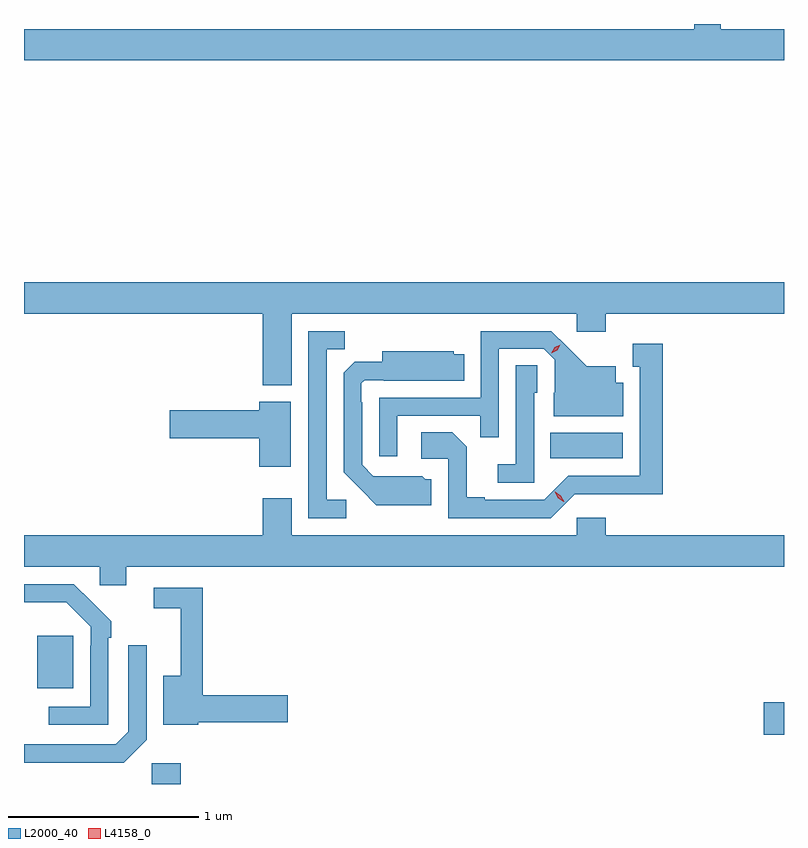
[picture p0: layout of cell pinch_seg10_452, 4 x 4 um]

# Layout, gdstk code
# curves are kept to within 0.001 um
import gdstk
lib = gdstk.Library(unit=1e-6, precision=1e-09)
def R(c, l, rs):  # rectangles x0, y0, x1, y1
    for r in rs: c.add(gdstk.rectangle(r[:2], r[2:], *l))
def P(c, l, *ps):  # polygons
    for p in ps: c.add(gdstk.Polygon(p, *l))
L2000_40 = (2000, 40)
L4158_0 = (4158, 0)

pinch_seg10_452 = lib.new_cell('pinch_seg10_452')
R(pinch_seg10_452, L2000_40, [(312.426,1305.832,312.578,1305.94), (315.648,1306.091,315.754,1306.262), (311.825,1306.337,312.013,1306.612), (314.524,1307.546,314.905,1307.68)])
P(pinch_seg10_452, L2000_40, [(315.754,1309.804),(315.421,1309.804),(315.421,1309.832),(315.281,1309.832),(315.281,1309.804),(311.754,1309.804),(311.754,1309.64),(315.754,1309.64)],
  [(313.162,1308.308),(314.664,1308.308),(314.664,1308.213),(314.816,1308.213),(314.816,1308.308),(315.754,1308.308),(315.754,1308.472),(311.754,1308.472),(311.754,1308.308),(313.01,1308.308),(313.01,1307.93),(313.162,1307.93)],
  [(313.45,1307.328),(313.347,1307.328),(313.347,1308.121),(313.443,1308.121),(313.443,1308.216),(313.251,1308.216),(313.251,1307.232),(313.45,1307.232)],
  [(313.719,1307.769),(314.155,1307.769),(314.155,1307.656),(314.253,1307.656),(314.253,1308.123),(314.49,1308.123),(314.547,1308.066),(314.547,1307.892),(314.543,1307.892),(314.543,1307.768),(314.908,1307.768),(314.908,1307.944),(314.869,1307.944),(314.869,1308.031),(314.717,1308.031),(314.53,1308.216),(314.157,1308.216),(314.157,1307.865),(313.623,1307.865),(313.623,1307.556),(313.719,1307.556)],
  [(314.652,1307.358),(315.115,1307.357),(315.115,1308.148),(314.957,1308.148),(314.957,1308.027),(314.996,1308.027),(314.996,1307.454),(314.619,1307.454),(314.493,1307.328),(314.179,1307.328),(314.179,1307.341),(314.085,1307.341),(314.085,1307.608),(314.009,1307.684),(313.845,1307.684),(313.845,1307.544),(313.986,1307.544),(313.986,1307.232),(314.526,1307.232)],
  [(313.897,1307.436),(313.866,1307.436),(313.85,1307.452),(313.593,1307.451),(313.533,1307.511),(313.533,1307.84),(313.53,1307.84),(313.53,1307.94),(313.548,1307.958),(313.648,1307.958),(313.648,1307.954),(314.072,1307.954),(314.072,1308.094),(314.016,1308.094),(314.016,1308.109),(313.64,1308.109),(313.64,1308.055),(313.496,1308.055),(313.437,1307.996),(313.437,1307.474),(313.609,1307.3),(313.897,1307.3)],
  [(314.439,1307.892),(314.454,1307.892),(314.454,1308.035),(314.343,1308.035),(314.343,1307.515),(314.247,1307.515),(314.247,1307.418),(314.439,1307.418)],
  [(313.159,1307.845),(312.992,1307.845),(312.992,1307.798),(312.522,1307.798),(312.522,1307.651),(312.992,1307.651),(312.992,1307.502),(313.159,1307.502)],
  [(312.292,1306.976),(315.754,1306.976),(315.754,1307.14),(314.816,1307.14),(314.816,1307.233),(314.664,1307.233),(314.664,1307.14),(313.162,1307.14),(313.162,1307.335),(313.01,1307.335),(313.01,1307.14),(311.754,1307.14),(311.754,1306.976),(312.153,1306.976),(312.153,1306.878),(312.292,1306.878)],
  [(312.198,1306.601),(312.213,1306.601),(312.213,1306.689),(312.016,1306.884),(311.754,1306.884),(311.754,1306.788),(311.977,1306.788),(312.105,1306.659),(312.105,1306.559),(312.102,1306.559),(312.102,1306.239),(311.883,1306.239),(311.883,1306.143),(312.198,1306.143)],
  [(312.672,1306.156),(313.141,1306.156),(313.141,1306.298),(312.695,1306.298),(312.695,1306.866),(312.438,1306.866),(312.438,1306.758),(312.578,1306.758),(312.578,1306.402),(312.488,1306.402),(312.488,1306.145),(312.672,1306.145)],
  [(312.399,1306.065),(312.399,1306.561),(312.303,1306.561),(312.303,1306.107),(312.237,1306.041),(311.754,1306.041),(311.754,1305.944),(312.278,1305.944)])
P(pinch_seg10_452, L4158_0, [(314.596,1307.317),(314.565,1307.337),(314.548,1307.37),(314.548,1307.37),(314.549,1307.37),(314.58,1307.35),(314.597,1307.317),(314.597,1307.317)],
  [(314.53,1308.1),(314.53,1308.1),(314.547,1308.13),(314.577,1308.145),(314.577,1308.145),(314.577,1308.145),(314.56,1308.115),(314.53,1308.1)])

lib.write_gds('pinch_seg10_452.gds')
